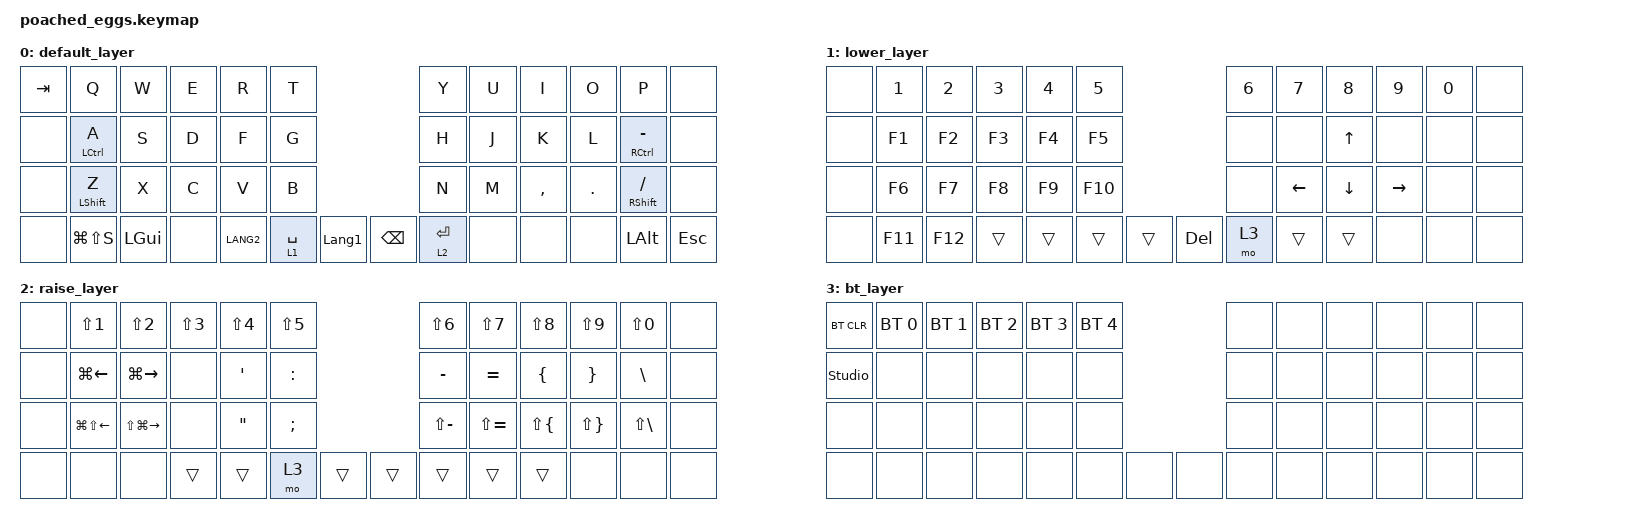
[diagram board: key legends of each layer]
#include <behaviors.dtsi>
#include <dt-bindings/zmk/bt.h>
#include <dt-bindings/zmk/keys.h>

/ {
    combos { compatible = "zmk,combos"; };

    behaviors {
        balanced: balanced {
            compatible = "zmk,behavior-hold-tap";
            label = "BALANCED";
            bindings = <&kp>, <&kp>;

            #binding-cells = <2>;
            tapping-term-ms = <200>;
            flavor = "balanced";
            require-prior-idle-ms = <150>;
            hold-while-undecided;
            hold-trigger-key-positions = <13 25 34 22>;
            hold-trigger-on-release;
        };
    };

    keymap {
        compatible = "zmk,keymap";

        default_layer {
            bindings = <
&kp TAB  &kp Q          &kp W         &kp E  &kp R      &kp T                                       &kp Y        &kp U  &kp I      &kp O    &kp P            &none
&none    &mt LCTRL A    &kp S         &kp D  &kp F      &kp G                                       &kp H        &kp J  &kp K      &kp L    &mt RCTRL MINUS  &none
&none    &mt LSHFT Z    &kp X         &kp C  &kp V      &kp B                                       &kp N        &kp M  &kp COMMA  &kp DOT  &mt RSHFT FSLH   &none
&none    &kp LG(LS(S))  &kp LEFT_GUI  &none  &kp LANG2  &lt 1 SPACE  &kp LANGUAGE_1  &kp BACKSPACE  &lt 2 ENTER  &none  &none      &none    &kp LEFT_ALT     &kp ESC
            >;
        };

        lower_layer {
            bindings = <
&none  &kp N1   &kp N2   &kp N3  &kp N4  &kp N5                    &kp N6  &kp N7    &kp N8        &kp N9     &kp N0  &none
&none  &kp F1   &kp F2   &kp F3  &kp F4  &kp F5                    &none   &none     &kp UP_ARROW  &none      &none   &none
&none  &kp F6   &kp F7   &kp F8  &kp F9  &kp F10                   &none   &kp LEFT  &kp DOWN      &kp RIGHT  &none   &none
&none  &kp F11  &kp F12  &trans  &trans  &trans   &trans  &kp DEL  &mo 3   &trans    &trans        &none      &none   &none
            >;
        };

        raise_layer {
            bindings = <
&none  &kp LS(NUMBER_1)  &kp LS(NUMBER_2)   &kp LS(NUMBER_3)  &kp LS(NUMBER_4)   &kp LS(N5)                  &kp LS(NUMBER_6)  &kp LS(N7)     &kp LS(N8)          &kp LS(N9)           &kp LS(N0)         &none
&none  &kp LG(LEFT)      &kp LG(RIGHT)      &none             &kp SINGLE_QUOTE   &kp COLON                   &kp MINUS         &kp EQUAL      &kp LEFT_BRACE      &kp RIGHT_BRACE      &kp BACKSLASH      &none
&none  &kp LG(LS(LEFT))  &kp LS(LG(RIGHT))  &none             &kp DOUBLE_QUOTES  &kp SEMI                    &kp LS(MINUS)     &kp LS(EQUAL)  &kp LS(LEFT_BRACE)  &kp LS(RIGHT_BRACE)  &kp LS(BACKSLASH)  &none
&none  &none             &none              &trans            &trans             &mo 3       &trans  &trans  &trans            &trans         &trans              &none                &none              &none
            >;
        };

        bt_layer {
            bindings = <
&bt BT_CLR      &bt BT_SEL 0  &bt BT_SEL 1  &bt BT_SEL 2  &bt BT_SEL 3  &bt BT_SEL 4                &none  &none  &none  &none  &none  &none
&studio_unlock  &none         &none         &none         &none         &none                       &none  &none  &none  &none  &none  &none
&none           &none         &none         &none         &none         &none                       &none  &none  &none  &none  &none  &none
&none           &none         &none         &none         &none         &none         &none  &none  &none  &none  &none  &none  &none  &none
            >;
        };
    };
};
